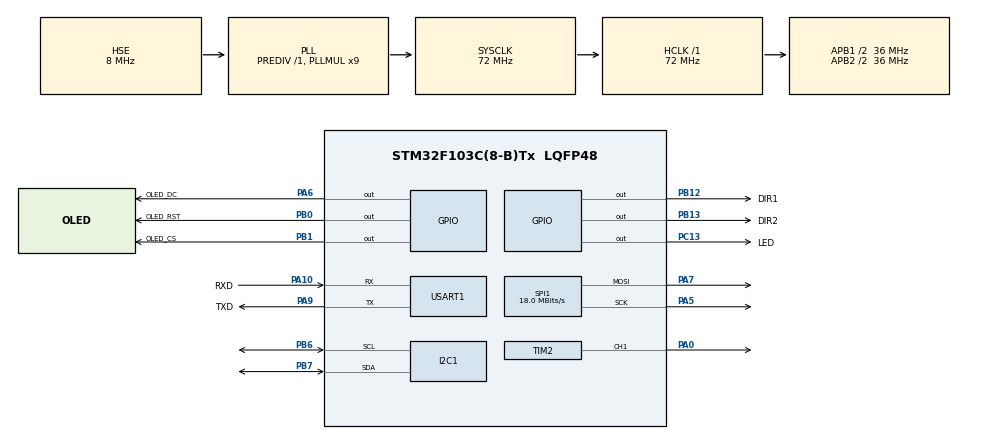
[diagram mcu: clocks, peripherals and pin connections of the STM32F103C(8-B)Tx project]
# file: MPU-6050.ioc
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I2C1.OwnAddress=0
Mcu.Family=STM32F1
Mcu.Name=STM32F103C(8-B)Tx
Mcu.Package=LQFP48
NVIC.PriorityGroup=NVIC_PRIORITYGROUP_4
NVIC.TIM1_UP_IRQn=true\:12\:0\:true\:false\:true\:true\:true
PA0-WKUP.GPIO_ModeDefaultPP=GPIO_MODE_AF_OD
PA0-WKUP.GPIO_Speed=GPIO_SPEED_FREQ_HIGH
PA0-WKUP.Signal=S_TIM2_CH1_ETR
PA10.GPIO_Label=RXD
PA10.Mode=Asynchronous
PA10.Signal=USART1_RX
PA5.Mode=TX_Only_Simplex_Unidirect_Master
PA5.Signal=SPI1_SCK
PA6.GPIO_Label=OLED_DC
PA6.Signal=GPIO_Output
PA7.Mode=TX_Only_Simplex_Unidirect_Master
PA7.Signal=SPI1_MOSI
PA9.GPIO_Label=TXD
PA9.Mode=Asynchronous
PA9.Signal=USART1_TX
PB0.GPIO_Label=OLED_RST
PB0.Signal=GPIO_Output
PB1.GPIO_Label=OLED_CS
PB1.Signal=GPIO_Output
PB12.GPIO_Label=DIR1
PB12.GPIO_ModeDefaultOutputPP=GPIO_MODE_OUTPUT_OD
PB12.Signal=GPIO_Output
PB13.GPIO_Label=DIR2
PB13.GPIO_ModeDefaultOutputPP=GPIO_MODE_OUTPUT_OD
PB13.Signal=GPIO_Output
PB6.Mode=I2C
PB6.Signal=I2C1_SCL
PB7.Mode=I2C
PB7.Signal=I2C1_SDA
PC13-TAMPER-RTC.GPIO_Label=LED
PC13-TAMPER-RTC.GPIO_ModeDefaultOutputPP=GPIO_MODE_OUTPUT_OD
PC13-TAMPER-RTC.GPIO_PuPd=GPIO_PULLUP
PC13-TAMPER-RTC.GPIO_Speed=GPIO_SPEED_FREQ_HIGH
PC13-TAMPER-RTC.PinState=GPIO_PIN_RESET
PC13-TAMPER-RTC.Signal=GPIO_Output
PD0-OSC_IN.Mode=HSE-External-Oscillator
PD0-OSC_IN.Signal=RCC_OSC_IN
PD1-OSC_OUT.Mode=HSE-External-Oscillator
PD1-OSC_OUT.Signal=RCC_OSC_OUT
ProjectManager.HeapSize=0x200
ProjectManager.StackSize=0x400
ProjectManager.TargetToolchain=STM32CubeIDE
RCC.AHBFreq_Value=72000000
RCC.APB1CLKDivider=RCC_HCLK_DIV2
RCC.APB1Freq_Value=36000000
RCC.APB1TimFreq_Value=72000000
RCC.APB2CLKDivider=RCC_HCLK_DIV2
RCC.APB2Freq_Value=36000000
RCC.APB2TimFreq_Value=72000000
RCC.HCLKFreq_Value=72000000
RCC.PLLMUL=RCC_PLL_MUL9
RCC.PLLSourceVirtual=RCC_PLLSOURCE_HSE
RCC.SYSCLKFreq_VALUE=72000000
RCC.SYSCLKSource=RCC_SYSCLKSOURCE_PLLCLK
RCC.USBFreq_Value=72000000
SH.S_TIM2_CH1_ETR.0=TIM2_CH1,PWM Generation1 CH1
SPI1.CalculateBaudRate=18.0 MBits/s
SPI1.Direction=SPI_DIRECTION_2LINES
SPI1.Mode=SPI_MODE_MASTER
SPI1.VirtualType=VM_MASTER
TIM1.AutoReloadPreload=TIM_AUTORELOAD_PRELOAD_ENABLE
TIM1.Period=9999
TIM1.Prescaler=71
TIM2.AutoReloadPreload=TIM_AUTORELOAD_PRELOAD_ENABLE
TIM2.Channel-PWM\ Generation1\ CH1=TIM_CHANNEL_1
TIM2.OCPolarity_1=TIM_OCPOLARITY_HIGH
TIM2.Period=99
TIM2.Prescaler=71
TIM2.Pulse-PWM\ Generation1\ CH1=10
USART1.VirtualMode=VM_ASYNC
VP_SYS_VS_ND.Mode=No_Debug
VP_TIM1_VS_ClockSourceINT.Mode=Internal
VP_TIM2_VS_ClockSourceINT.Mode=Internal
board=custom

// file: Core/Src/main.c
/* USER CODE BEGIN Header */
/**
  ******************************************************************************
  * @file           : main.c
  * @brief          : Main program body
  ******************************************************************************
  * @attention
  *
  * <h2><center>&copy; Copyright (c) 2020 STMicroelectronics.
  * All rights reserved.</center></h2>
  *
  * This software component is licensed by ST under BSD 3-Clause license,
  * the "License"; You may not use this file except in compliance with the
  * License. You may obtain a copy of the License at:
  *                        opensource.org/licenses/BSD-3-Clause
  *
  ******************************************************************************
  */
/* USER CODE END Header */
#include "main.h"
#include "i2c.h"
#include "spi.h"
#include "tim.h"
#include "usart.h"
#include "gpio.h"

/* USER CODE BEGIN Includes */
#include "control.h"
#include <math.h>
#include "stdio.h"
#include "retarget.h"
#include "inv_mpu.h"
#include "mpu6050.h"
#include "oled.h"

/* USER CODE END Includes */

/* USER CODE BEGIN PTD */
typedef unsigned char  uchar;
typedef unsigned short ushort;
typedef unsigned int   uint;
/* USER CODE END PTD */

/* USER CODE BEGIN PV */

float pitch,roll,yaw; 		//欧拉�?????????????????????
short aacx,aacy,aacz;
short gyrox,gyroy,gyroz;
short temp;	//温度
float velocity = 0;
uint8_t cnt=0;
/* USER CODE END PV */

void SystemClock_Config(void);
/* USER CODE BEGIN PFP */
void usart1_send_char(uint8_t c);
void usart1_niming_report(uint8_t fun,uint8_t*data,uint8_t len);
void mpu6050_send_data(float pitch,float roll,float yaw);
void HAL_TIM_PeriodElapsedCallback(TIM_HandleTypeDef *htim);

/* USER CODE END PFP */

int main(void)
{
  /* USER CODE BEGIN 1 */
	  uint8_t oled_buffer[16];

  /* USER CODE END 1 */

  /* MCU Configuration--------------------------------------------------------*/

  /* Reset of all peripherals, Initializes the Flash interface and the Systick. */
  HAL_Init();

  /* Configure the system clock */
  SystemClock_Config();

  /* Initialize all configured peripherals */
  MX_GPIO_Init();
  MX_I2C1_Init();
  MX_USART1_UART_Init();
  MX_TIM1_Init();
  MX_TIM2_Init();
  MX_SPI1_Init();
  /* USER CODE BEGIN 2 */
  OLED_Init();
  HAL_TIM_Base_Start_IT(&htim1);
  HAL_TIM_PWM_Start(&htim2, TIM_CHANNEL_1);
  RetargetInit(&huart1);

  OLED_ShowString(0, 0, "MPU start init", 16);
  OLED_Refresh();

  while(mpu_dmp_init())//
  	{
  	    printf("MPU6050 Error!!!\r\n");
        HAL_Delay(500);
  	}
  printf("MPU6050 OK\r\n");
  OLED_Clear();
  PID_Init();

  /* USER CODE END 2 */

  /* Infinite loop */
  /* USER CODE BEGIN WHILE */
  while (1)
  {

	if(mpu_dmp_get_data(&pitch,&roll,&yaw)==0)
	{
				temp=MPU_Get_Temperature();
				MPU_Get_Accelerometer(&aacx,&aacy,&aacz);
				MPU_Get_Gyroscope(&gyrox,&gyroy,&gyroz);

					/*
					if((t%10)==0)
					{
						//tempÖµ
						if(temp<0)
						{
							temp=-temp;		//×ªÎªÕýÊý
							printf(" Temp:  -%d.%dC\r\n",temp/100,temp%10);
						}else
							printf(" Temp:  %d.%dC\r\n",temp/100,temp%10);

						//pitchÖµ
						temp=pitch*10;
						if(temp<0)
						{
							temp=-temp;		//×ªÎªÕýÊý
							printf(" Pitch: -%d.%dC\r\n",temp/10,temp%10);
						}else
							printf(" Pitch:  %d.%dC\r\n",temp/10,temp%10);

						//rollÖµ
						temp=roll*10;
						if(temp<0)
						{
							temp=-temp;		//×ªÎªÕýÊý
							printf(" Roll:  -%d.%dC\r\n",temp/10,temp%10);
						}else
							printf(" Roll:  %d.%dC\r\n",temp/10,temp%10);

						//yawÖµ
						temp=yaw*10;
						if(temp<0)
						{
							temp=-temp;		//×ªÎªÕýÊý
							printf(" Yaw:  -%d.%dC\r\n",temp/10,temp%10);
						}else
							printf(" Yaw:   %d.%dC\r\n",temp/10,temp%10);

						printf("\r\n");
						t=0;

					}  */

					mpu6050_send_data(pitch,roll,yaw);
					printf("  %f\r\n",velocity);

					sprintf(oled_buffer,"%f",pitch);
					OLED_ShowString(0, 0, oled_buffer, sizeof(oled_buffer));
					sprintf(oled_buffer,"%f",velocity);
					OLED_ShowString(0, 16, oled_buffer, sizeof(oled_buffer));
					OLED_Refresh();
					HAL_Delay(100);

	}
	//t++;

    /* USER CODE END WHILE */

  }
}

void SystemClock_Config(void)
{
  RCC_OscInitTypeDef RCC_OscInitStruct = {0};
  RCC_ClkInitTypeDef RCC_ClkInitStruct = {0};

  /** Initializes the RCC Oscillators according to the specified parameters
  * in the RCC_OscInitTypeDef structure.
  */
  RCC_OscInitStruct.OscillatorType = RCC_OSCILLATORTYPE_HSE;
  RCC_OscInitStruct.HSEState = RCC_HSE_ON;
  RCC_OscInitStruct.HSEPredivValue = RCC_HSE_PREDIV_DIV1;
  RCC_OscInitStruct.HSIState = RCC_HSI_ON;
  RCC_OscInitStruct.PLL.PLLState = RCC_PLL_ON;
  RCC_OscInitStruct.PLL.PLLSource = RCC_PLLSOURCE_HSE;
  RCC_OscInitStruct.PLL.PLLMUL = RCC_PLL_MUL9;
  if (HAL_RCC_OscConfig(&RCC_OscInitStruct) != HAL_OK)
  {
    Error_Handler();
  }
  /** Initializes the CPU, AHB and APB buses clocks
  */
  RCC_ClkInitStruct.ClockType = RCC_CLOCKTYPE_HCLK|RCC_CLOCKTYPE_SYSCLK
                              |RCC_CLOCKTYPE_PCLK1|RCC_CLOCKTYPE_PCLK2;
  RCC_ClkInitStruct.SYSCLKSource = RCC_SYSCLKSOURCE_PLLCLK;
  RCC_ClkInitStruct.AHBCLKDivider = RCC_SYSCLK_DIV1;
  RCC_ClkInitStruct.APB1CLKDivider = RCC_HCLK_DIV2;
  RCC_ClkInitStruct.APB2CLKDivider = RCC_HCLK_DIV2;

  if (HAL_RCC_ClockConfig(&RCC_ClkInitStruct, FLASH_LATENCY_2) != HAL_OK)
  {
    Error_Handler();
  }
}

/* USER CODE BEGIN 4 */
void HAL_TIM_PeriodElapsedCallback(TIM_HandleTypeDef *htim)
{

  if(htim==(&htim1))
  {

	/***************test led****************/
	  if(cnt/200%2)
		HAL_GPIO_WritePin(LED_GPIO_Port, LED_Pin, GPIO_PIN_SET);
	else
		HAL_GPIO_WritePin(LED_GPIO_Port, LED_Pin, GPIO_PIN_RESET);

	/*****************process*****************/

	setFrenquency(accel(pitch,&pid_pitch));
	if(cnt%128==0)
	{
		OLED_ClearWave();
		OLED_DrawLine(0, 48, 127, 48);
	}
	OLED_DrawPoint(cnt%128, 48+velocity/100*16);
	cnt++;
  }
}

void usart1_send_char(uint8_t c)
{
    while((USART1->SR&0X40)==0);//等待上一次发送完�?????????????????????
    USART1->DR=c;
}

//fun:功能�?????????????????????. 0XA0~0XAF
//data:数据缓存�?????????????????????,�?????????????????????�?????????????????????28字节!!
//len:data区有效数据个�?????????????????????
void usart1_niming_report(uint8_t fun,uint8_t*data,uint8_t len)
{
    uint8_t send_buf[32];
    uint8_t i;
    if(len>28)return;    //�?????????????????????�?????????????????????28字节数据
    send_buf[len+3]=0;  //校验数置�?????????????????????
    send_buf[0]=0X88;   //帧头
    send_buf[1]=fun;    //功能�?????????????????????
    send_buf[2]=len;    //数据长度
    for(i=0;i<len;i++)send_buf[3+i]=data[i];         //复制数据
    for(i=0;i<len+3;i++)send_buf[len+3]+=send_buf[i];    //计算校验�?????????????????????
    for(i=0;i<len+4;i++)usart1_send_char(send_buf[i]);   //发�?�数据到串口1
}

void mpu6050_send_data(float pitch,float roll,float yaw)
{
    uint8_t tbuf[16];
    unsigned char *p;
    p=(unsigned char *)&pitch;
    tbuf[0]=(unsigned char)(*(p+3));
    tbuf[1]=(unsigned char)(*(p+2));
    tbuf[2]=(unsigned char)(*(p+1));
    tbuf[3]=(unsigned char)(*(p+0));

    p=(unsigned char *)&roll;
    tbuf[4]=(unsigned char)(*(p+3));
    tbuf[5]=(unsigned char)(*(p+2));
    tbuf[6]=(unsigned char)(*(p+1));
    tbuf[7]=(unsigned char)(*(p+0));

    p=(unsigned char *)&yaw;
    tbuf[8]=(unsigned char)(*(p+3));
    tbuf[9]=(unsigned char)(*(p+2));
    tbuf[10]=(unsigned char)(*(p+1));
    tbuf[11]=(unsigned char)(*(p+0));

    usart1_niming_report(0XA2,tbuf,12);//自定义帧,0XA2
}

/* USER CODE END 4 */

void Error_Handler(void)
{
}

/************************ (C) COPYRIGHT STMicroelectronics *****END OF FILE****/
